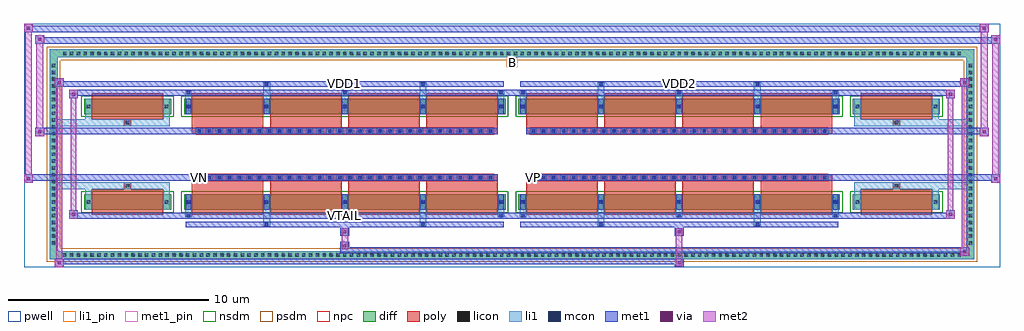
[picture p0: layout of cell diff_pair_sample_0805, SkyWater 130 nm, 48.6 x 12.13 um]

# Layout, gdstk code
import gdstk
lib = gdstk.Library(unit=1e-6, precision=5e-09)
def R(c, l, rs):  # rectangles x0, y0, x1, y1
    for r in rs: c.add(gdstk.rectangle(r[:2], r[2:], *l))
def A(c, l, x, y, w, h, nx, ny, dx, dy):  # array of equal rectangles
    R(c, l, [(x+i*dx, y+j*dy, x+i*dx+w, y+j*dy+h) for i in range(nx) for j in range(ny)])
def P(c, l, *ps):  # polygons
    for p in ps: c.add(gdstk.Polygon(p, *l))
pwell = (64, 44)
diff = (65, 20)
poly = (66, 20)
licon = (66, 44)
li1_pin = (67, 16)
li1 = (67, 20)
mcon = (67, 44)
met1_pin = (68, 16)
met1 = (68, 20)
via = (68, 44)
met2 = (69, 20)
nsdm = (93, 44)
psdm = (94, 20)
npc = (95, 20)

diff_pair_sample_0805 = lib.new_cell('diff_pair_sample_0805')
R(diff_pair_sample_0805, pwell, [(-24.3,-5.63,24.3,6.5), (-21.62,-3.82,-0.01,-0.8), (0.01,-3.82,21.62,-0.8), (-21.62,0.8,-0.01,3.82), (0.01,0.8,21.62,3.82)])
A(diff_pair_sample_0805, diff, -22.475, -5.23, 0.41, 0.41, 132, 2, 0.34, 10.05)
A(diff_pair_sample_0805, diff, -23.03, -4.625, 0.41, 0.41, 1, 27, 0, 0.34)
A(diff_pair_sample_0805, diff, 22.62, -4.625, 0.41, 0.41, 1, 27, 0, 0.34)
R(diff_pair_sample_0805, diff, [(-22.475,-5.23,22.475,-4.82), (-23.03,-4.625,-22.62,4.625), (22.62,-4.625,23.03,4.625), (-21.31,-2.775,-16.97,-1.985), (-16.33,-2.775,-0.32,-1.985), (0.32,-2.775,16.33,-1.985), (16.97,-2.775,21.31,-1.985), (-21.31,1.985,-16.97,2.775), (-16.33,1.985,-0.32,2.775), (0.32,1.985,16.33,2.775), (16.97,1.985,21.31,2.775), (-22.475,4.82,22.475,5.23)])
P(diff_pair_sample_0805, diff, [(23.03,5.23),(-23.03,5.23),(-23.03,-4.82),(-22.62,-4.82),(-22.62,4.82),(22.62,4.82),(22.62,-4.82),(-22.62,-4.82),(-23.03,-4.82),(-23.03,-5.23),(23.03,-5.23)])
A(diff_pair_sample_0805, poly, -15.94, -3.025, 3.56, 1.29, 4, 2, 3.89, 4.76)
A(diff_pair_sample_0805, poly, 0.71, -3.025, 3.56, 1.29, 4, 2, 3.89, 4.76)
A(diff_pair_sample_0805, poly, -15.94, -1.735, 3.56, 0.405, 4, 2, 3.89, 3.065)
A(diff_pair_sample_0805, poly, 0.71, -1.735, 3.56, 0.405, 4, 2, 3.89, 3.065)
A(diff_pair_sample_0805, poly, -15.74, -1.33, 0.33, 0.33, 30, 2, 0.5, 2.33)
A(diff_pair_sample_0805, poly, 0.91, -1.33, 0.33, 0.33, 30, 2, 0.5, 2.33)
R(diff_pair_sample_0805, poly, [(-20.92,-3.025,-17.36,-1.735), (17.36,-3.025,20.92,-1.735), (-19.305,-1.735,-18.975,-1.405), (-19.305,-1.735,-18.975,-1.405), (18.975,-1.735,19.305,-1.405), (18.975,-1.735,19.305,-1.405), (-15.94,-1.33,-0.71,-1), (0.71,-1.33,15.94,-1), (-15.94,1,-0.71,1.33), (0.71,1,15.94,1.33), (-19.305,1.405,-18.975,1.735), (-19.305,1.405,-18.975,1.735), (18.975,1.405,19.305,1.735), (18.975,1.405,19.305,1.735), (-20.92,1.735,-17.36,3.025), (17.36,1.735,20.92,3.025)])
A(diff_pair_sample_0805, licon, -22.355, -5.11, 0.17, 0.17, 132, 2, 0.34, 10.05)
A(diff_pair_sample_0805, licon, -22.91, -4.505, 0.17, 0.17, 1, 27, 0, 0.34)
A(diff_pair_sample_0805, licon, 22.74, -4.505, 0.17, 0.17, 1, 27, 0, 0.34)
A(diff_pair_sample_0805, licon, -16.19, -2.465, 0.17, 0.17, 5, 2, 3.89, 4.76)
A(diff_pair_sample_0805, licon, 0.46, -2.465, 0.17, 0.17, 5, 2, 3.89, 4.76)
A(diff_pair_sample_0805, licon, -15.66, -1.25, 0.17, 0.17, 30, 2, 0.5, 2.33)
A(diff_pair_sample_0805, licon, 0.99, -1.25, 0.17, 0.17, 30, 2, 0.5, 2.33)
R(diff_pair_sample_0805, licon, [(-21.17,-2.465,-21,-2.295), (-17.28,-2.465,-17.11,-2.295), (17.11,-2.465,17.28,-2.295), (21,-2.465,21.17,-2.295), (-19.225,-1.655,-19.055,-1.485), (19.055,-1.655,19.225,-1.485), (-19.225,1.485,-19.055,1.655), (19.055,1.485,19.225,1.655), (-21.17,2.295,-21,2.465), (-17.28,2.295,-17.11,2.465), (17.11,2.295,17.28,2.465), (21,2.295,21.17,2.465)])
R(diff_pair_sample_0805, li1_pin, [(-0.25,4.32,0.25,4.82)])
A(diff_pair_sample_0805, li1, -22.435, -5.19, 0.33, 0.33, 132, 2, 0.34, 10.05)
A(diff_pair_sample_0805, li1, -22.99, -4.585, 0.33, 0.33, 1, 27, 0, 0.34)
A(diff_pair_sample_0805, li1, 22.66, -4.585, 0.33, 0.33, 1, 27, 0, 0.34)
A(diff_pair_sample_0805, li1, -16.27, -3.15, 0.33, 0.375, 3, 2, 7.78, 5.925)
A(diff_pair_sample_0805, li1, -16.19, -3.15, 0.17, 0.17, 3, 2, 7.78, 6.13)
A(diff_pair_sample_0805, li1, 0.38, -3.15, 0.33, 0.375, 3, 2, 7.78, 5.925)
A(diff_pair_sample_0805, li1, 0.46, -3.15, 0.17, 0.17, 3, 2, 7.78, 6.13)
A(diff_pair_sample_0805, li1, -16.27, -2.775, 0.33, 0.79, 5, 2, 3.89, 4.76)
A(diff_pair_sample_0805, li1, 0.38, -2.775, 0.33, 0.79, 5, 2, 3.89, 4.76)
A(diff_pair_sample_0805, li1, -16.27, -2.545, 0.33, 0.33, 5, 2, 3.89, 4.76)
A(diff_pair_sample_0805, li1, 0.38, -2.545, 0.33, 0.33, 5, 2, 3.89, 4.76)
A(diff_pair_sample_0805, li1, -15.74, -1.33, 0.33, 0.33, 30, 2, 0.5, 2.33)
A(diff_pair_sample_0805, li1, 0.91, -1.33, 0.33, 0.33, 30, 2, 0.5, 2.33)
R(diff_pair_sample_0805, li1, [(-23.03,-5.23,-22.62,-4.82), (-23.03,-5.23,-22.62,-4.82), (-22.62,-5.23,22.62,-4.82), (22.62,-5.23,23.03,-4.82), (22.62,-5.23,23.03,-4.82), (-23.03,-4.82,-22.62,4.82), (22.62,-4.82,23.03,4.82), (-12.38,-3.58,-12.05,-2.775), (-12.3,-3.58,-12.13,-3.41), (-4.6,-3.58,-4.27,-2.775), (-4.52,-3.58,-4.35,-3.41), (4.27,-3.58,4.6,-2.775), (4.35,-3.58,4.52,-3.41), (12.05,-3.58,12.38,-2.775), (12.13,-3.58,12.3,-3.41), (-21.25,-2.775,-20.92,-1.985), (-17.36,-2.775,-17.03,-1.985), (17.03,-2.775,17.36,-1.985), (20.92,-2.775,21.25,-1.985), (-21.25,-2.545,-20.92,-2.215), (-17.36,-2.545,-17.03,-2.215), (17.03,-2.545,17.36,-2.215), (20.92,-2.545,21.25,-2.215), (-16.19,-2.465,-16.02,-2.295), (-16.19,-2.465,-16.02,-2.295), (-12.3,-2.465,-12.13,-2.295), (-12.3,-2.465,-12.13,-2.295), (-8.41,-2.465,-8.24,-2.295), (-8.41,-2.465,-8.24,-2.295), (-4.52,-2.465,-4.35,-2.295), (-4.52,-2.465,-4.35,-2.295), (-0.63,-2.465,-0.46,-2.295), (-0.63,-2.465,-0.46,-2.295), (0.46,-2.465,0.63,-2.295), (0.46,-2.465,0.63,-2.295), (4.35,-2.465,4.52,-2.295), (4.35,-2.465,4.52,-2.295), (8.24,-2.465,8.41,-2.295), (8.24,-2.465,8.41,-2.295), (12.13,-2.465,12.3,-2.295), (12.13,-2.465,12.3,-2.295), (16.02,-2.465,16.19,-2.295), (16.02,-2.465,16.19,-2.295), (-21.25,-1.985,-20.92,-1.405), (-17.36,-1.985,-17.03,-1.405), (17.03,-1.985,17.36,-1.405), (20.92,-1.985,21.25,-1.405), (-23.03,-1.735,-19.305,-1.405), (-21.25,-1.735,-19.305,-1.405), (-19.305,-1.735,-18.975,-1.405), (-18.975,-1.735,-17.03,-1.405), (17.03,-1.735,18.975,-1.405), (18.975,-1.735,19.305,-1.405), (18.975,-1.735,23.03,-1.405), (19.305,-1.735,21.25,-1.405), (-23.03,1.405,-19.305,1.735), (-21.25,1.405,-19.305,1.735), (-21.25,1.405,-20.92,1.985), (-19.305,1.405,-18.975,1.735), (-18.975,1.405,-17.03,1.735), (-17.36,1.405,-17.03,1.985), (17.03,1.405,18.975,1.735), (17.03,1.405,17.36,1.985), (18.975,1.405,19.305,1.735), (18.975,1.405,23.03,1.735), (19.305,1.405,21.25,1.735), (20.92,1.405,21.25,1.985), (-21.25,1.985,-20.92,2.775), (-17.36,1.985,-17.03,2.775), (17.03,1.985,17.36,2.775), (20.92,1.985,21.25,2.775), (-21.25,2.215,-20.92,2.545), (-17.36,2.215,-17.03,2.545), (17.03,2.215,17.36,2.545), (20.92,2.215,21.25,2.545), (-16.19,2.295,-16.02,2.465), (-16.19,2.295,-16.02,2.465), (-12.3,2.295,-12.13,2.465), (-12.3,2.295,-12.13,2.465), (-8.41,2.295,-8.24,2.465), (-8.41,2.295,-8.24,2.465), (-4.52,2.295,-4.35,2.465), (-4.52,2.295,-4.35,2.465), (-0.63,2.295,-0.46,2.465), (-0.63,2.295,-0.46,2.465), (0.46,2.295,0.63,2.465), (0.46,2.295,0.63,2.465), (4.35,2.295,4.52,2.465), (4.35,2.295,4.52,2.465), (8.24,2.295,8.41,2.465), (8.24,2.295,8.41,2.465), (12.13,2.295,12.3,2.465), (12.13,2.295,12.3,2.465), (16.02,2.295,16.19,2.465), (16.02,2.295,16.19,2.465), (-12.38,2.775,-12.05,3.58), (-4.6,2.775,-4.27,3.58), (4.27,2.775,4.6,3.58), (12.05,2.775,12.38,3.58), (-12.3,3.41,-12.13,3.58), (-4.52,3.41,-4.35,3.58), (4.35,3.41,4.52,3.58), (12.13,3.41,12.3,3.58), (-23.03,4.82,-22.62,5.23), (-23.03,4.82,-22.62,5.23), (-22.62,4.82,22.62,5.23), (22.62,4.82,23.03,5.23), (22.62,4.82,23.03,5.23)])
A(diff_pair_sample_0805, mcon, -16.19, -3.15, 0.17, 0.17, 3, 2, 7.78, 6.13)
A(diff_pair_sample_0805, mcon, 0.46, -3.15, 0.17, 0.17, 3, 2, 7.78, 6.13)
A(diff_pair_sample_0805, mcon, -16.19, -2.465, 0.17, 0.17, 5, 2, 3.89, 4.76)
A(diff_pair_sample_0805, mcon, 0.46, -2.465, 0.17, 0.17, 5, 2, 3.89, 4.76)
A(diff_pair_sample_0805, mcon, -15.66, -1.25, 0.17, 0.17, 30, 2, 0.5, 2.33)
A(diff_pair_sample_0805, mcon, 0.99, -1.25, 0.17, 0.17, 30, 2, 0.5, 2.33)
R(diff_pair_sample_0805, mcon, [(-12.3,-3.58,-12.13,-3.41), (-4.52,-3.58,-4.35,-3.41), (4.35,-3.58,4.52,-3.41), (12.13,-3.58,12.3,-3.41), (-12.3,3.41,-12.13,3.58), (-4.52,3.41,-4.35,3.58), (4.35,3.41,4.52,3.58), (12.13,3.41,12.3,3.58)])
R(diff_pair_sample_0805, met1_pin, [(-8.46,-3.19,-8.19,-2.92), (-15.71,-1.29,-15.44,-1.02), (0.94,-1.29,1.21,-1.02), (-8.46,3.37,-8.19,3.64), (8.19,3.37,8.46,3.64)])
A(diff_pair_sample_0805, met1, -16.25, -3.21, 0.29, 0.29, 3, 2, 7.78, 6.13)
A(diff_pair_sample_0805, met1, 0.4, -3.21, 0.29, 0.29, 3, 2, 7.78, 6.13)
A(diff_pair_sample_0805, met1, -16.25, -2.775, 0.29, 0.79, 5, 2, 3.89, 4.76)
A(diff_pair_sample_0805, met1, 0.4, -2.775, 0.29, 0.79, 5, 2, 3.89, 4.76)
A(diff_pair_sample_0805, met1, -16.25, -2.525, 0.29, 0.29, 5, 2, 3.89, 4.76)
A(diff_pair_sample_0805, met1, 0.4, -2.525, 0.29, 0.29, 5, 2, 3.89, 4.76)
A(diff_pair_sample_0805, met1, -15.72, -1.31, 0.29, 0.29, 30, 2, 0.5, 2.33)
A(diff_pair_sample_0805, met1, 0.93, -1.31, 0.29, 0.29, 30, 2, 0.5, 2.33)
R(diff_pair_sample_0805, met1, [(-22.76,-5.63,-22.33,-5.2), (8.11,-5.63,8.54,-5.2), (-22.76,-5.49,8.54,-5.2), (22.33,-5.06,22.76,-4.63), (-8.54,-4.92,22.76,-4.63), (-8.54,-4.78,-8.11,-4.35), (-8.54,-4.07,-8.11,-3.64), (8.11,-4.07,8.54,-3.64), (-16.25,-3.64,-0.4,-3.35), (-12.36,-3.64,-12.07,-3.35), (-4.58,-3.64,-4.29,-3.35), (0.4,-3.64,16.25,-3.35), (4.29,-3.64,4.58,-3.35), (12.07,-3.64,12.36,-3.35), (-22.05,-3.21,-21.62,-2.78), (-22.05,-3.21,-16.25,-2.92), (-16.25,-3.21,-0.4,-2.92), (-0.4,-3.21,0.4,-2.92), (0.4,-3.21,16.25,-2.92), (16.25,-3.21,22.05,-2.92), (21.62,-3.21,22.05,-2.78), (-24.3,-1.43,-23.87,-1), (23.87,-1.43,24.3,-1), (-24.3,-1.33,-0.71,-1), (-15.94,-1.33,-0.71,-1), (0.71,-1.33,15.94,-1), (0.71,-1.33,24.3,-1), (-23.73,0.9,-23.3,1.33), (23.3,0.9,23.73,1.33), (-23.73,1,-15.94,1.33), (-15.94,1,-0.71,1.33), (0.71,1,15.94,1.33), (15.94,1,23.73,1.33), (-22.05,2.78,-21.62,3.21), (21.62,2.78,22.05,3.21), (-22.05,2.92,-16.25,3.21), (-16.25,2.92,-0.4,3.21), (-0.4,2.92,0.4,3.21), (0.4,2.92,16.25,3.21), (16.25,2.92,22.05,3.21), (-22.76,3.35,-22.33,3.78), (-22.76,3.35,-16.25,3.64), (-16.25,3.35,-0.4,3.64), (-12.36,3.35,-12.07,3.64), (-4.58,3.35,-4.29,3.64), (0.4,3.35,16.25,3.64), (4.29,3.35,4.58,3.64), (12.07,3.35,12.36,3.64), (16.25,3.35,22.76,3.64), (22.33,3.35,22.76,3.78), (-23.73,5.5,-23.3,5.93), (-23.73,5.5,-21.62,5.83), (-21.62,5.5,21.62,5.83), (21.62,5.5,24.3,5.83), (23.87,5.5,24.3,5.93), (-24.3,6.07,-23.87,6.5), (-24.3,6.07,-21.62,6.4), (-21.62,6.07,21.62,6.4), (21.62,6.07,23.73,6.4), (23.3,6.07,23.73,6.5)])
R(diff_pair_sample_0805, via, [(-22.62,-5.49,-22.47,-5.34), (8.25,-5.49,8.4,-5.34), (22.47,-4.92,22.62,-4.77), (-8.4,-4.64,-8.25,-4.49), (-8.4,-3.93,-8.25,-3.78), (8.25,-3.93,8.4,-3.78), (-21.91,-3.07,-21.76,-2.92), (21.76,-3.07,21.91,-2.92), (-24.16,-1.29,-24.01,-1.14), (24.01,-1.29,24.16,-1.14), (-23.59,1.04,-23.44,1.19), (23.44,1.04,23.59,1.19), (-21.91,2.92,-21.76,3.07), (21.76,2.92,21.91,3.07), (-22.62,3.49,-22.47,3.64), (22.47,3.49,22.62,3.64), (-23.59,5.64,-23.44,5.79), (24.01,5.64,24.16,5.79), (-24.16,6.21,-24.01,6.36), (23.44,6.21,23.59,6.36)])
R(diff_pair_sample_0805, met2, [(-22.76,-5.63,-22.33,-5.2), (-22.69,-5.63,-22.4,3.78), (-22.4,-5.63,-22.33,-5.2), (-22.71,-5.58,-22.38,-5.25), (8.16,-5.58,8.49,-5.25), (8.16,-5.25,8.49,-4.02), (22.33,-5.06,22.76,-4.63), (22.4,-5.06,22.69,3.78), (22.69,-5.06,22.76,-4.63), (22.38,-5.01,22.71,-4.68), (-8.49,-4.73,-8.16,-4.4), (-8.49,-4.4,-8.16,-4.02), (-8.49,-4.02,-8.16,-3.69), (8.16,-4.02,8.49,-3.69), (-22.05,-3.21,-21.62,-2.78), (-21.98,-3.21,-21.69,3.21), (-21.69,-3.21,-21.62,-2.78), (21.62,-3.21,22.05,-2.78), (21.69,-3.21,21.98,3.21), (21.98,-3.21,22.05,-2.78), (-22,-3.16,-21.67,-2.83), (21.67,-3.16,22,-2.83), (-24.3,-1.43,-23.87,-1), (-24.25,-1.43,-23.92,6.5), (-23.92,-1.43,-23.87,-1), (23.87,-1.43,24.3,-1), (23.92,-1.43,24.25,5.93), (24.25,-1.43,24.3,-1), (-24.25,-1.38,-23.92,-1.05), (23.92,-1.38,24.25,-1.05), (-23.73,0.9,-23.3,1.33), (-23.68,0.9,-23.35,5.93), (-23.35,0.9,-23.3,1.33), (23.3,0.9,23.73,1.33), (23.35,0.9,23.68,6.5), (23.68,0.9,23.73,1.33), (-23.68,0.95,-23.35,1.28), (23.35,0.95,23.68,1.28), (-22.05,2.78,-21.62,3.21), (-21.69,2.78,-21.62,3.21), (21.62,2.78,22.05,3.21), (21.98,2.78,22.05,3.21), (-22,2.83,-21.67,3.16), (21.67,2.83,22,3.16), (-22.76,3.35,-22.33,3.78), (-22.4,3.35,-22.33,3.78), (22.33,3.35,22.76,3.78), (22.69,3.35,22.76,3.78), (-22.71,3.4,-22.38,3.73), (22.38,3.4,22.71,3.73), (-23.73,5.5,-23.3,5.93), (-23.35,5.5,-23.3,5.93), (23.87,5.5,24.3,5.93), (24.25,5.5,24.3,5.93), (-23.68,5.55,-23.35,5.88), (23.92,5.55,24.25,5.88), (-24.3,6.07,-23.87,6.5), (-23.92,6.07,-23.87,6.5), (23.3,6.07,23.73,6.5), (23.68,6.07,23.73,6.5), (-24.25,6.12,-23.92,6.45), (23.35,6.12,23.68,6.45)])
R(diff_pair_sample_0805, nsdm, [(-21.44,-2.905,-16.84,-1.855), (-16.46,-2.905,-0.19,-1.855), (0.19,-2.905,16.46,-1.855), (16.84,-2.905,21.44,-1.855), (-21.44,1.855,-16.84,2.905), (-16.46,1.855,-0.19,2.905), (0.19,1.855,16.46,2.905), (16.84,1.855,21.44,2.905)])
P(diff_pair_sample_0805, psdm, [(23.16,5.36),(-23.16,5.36),(-23.16,-4.69),(-22.49,-4.69),(-22.49,4.69),(22.49,4.69),(22.49,-4.69),(-22.49,-4.69),(-23.16,-4.69),(-23.16,-5.36),(23.16,-5.36)])
A(diff_pair_sample_0805, npc, -15.76, -1.35, 0.37, 0.37, 30, 2, 0.5, 2.33)
A(diff_pair_sample_0805, npc, 0.89, -1.35, 0.37, 0.37, 30, 2, 0.5, 2.33)
R(diff_pair_sample_0805, npc, [(-19.325,-1.755,-18.955,-1.385), (18.955,-1.755,19.325,-1.385), (-15.76,-1.35,-14.89,-0.98), (-15.76,-1.35,-14.89,-0.98), (-15.26,-1.35,-14.39,-0.98), (-15.26,-1.35,-14.39,-0.98), (-14.76,-1.35,-13.89,-0.98), (-14.76,-1.35,-13.89,-0.98), (-14.26,-1.35,-13.39,-0.98), (-14.26,-1.35,-13.39,-0.98), (-13.76,-1.35,-12.89,-0.98), (-13.76,-1.35,-12.89,-0.98), (-13.26,-1.35,-12.39,-0.98), (-13.26,-1.35,-12.39,-0.98), (-12.76,-1.35,-11.89,-0.98), (-12.76,-1.35,-11.89,-0.98), (-12.26,-1.35,-11.39,-0.98), (-12.26,-1.35,-11.39,-0.98), (-11.76,-1.35,-10.89,-0.98), (-11.76,-1.35,-10.89,-0.98), (-11.26,-1.35,-10.39,-0.98), (-11.26,-1.35,-10.39,-0.98), (-10.76,-1.35,-9.89,-0.98), (-10.76,-1.35,-9.89,-0.98), (-10.26,-1.35,-9.39,-0.98), (-10.26,-1.35,-9.39,-0.98), (-9.76,-1.35,-8.89,-0.98), (-9.76,-1.35,-8.89,-0.98), (-9.26,-1.35,-8.39,-0.98), (-9.26,-1.35,-8.39,-0.98), (-8.76,-1.35,-7.89,-0.98), (-8.76,-1.35,-7.89,-0.98), (-8.26,-1.35,-7.39,-0.98), (-8.26,-1.35,-7.39,-0.98), (-7.76,-1.35,-6.89,-0.98), (-7.76,-1.35,-6.89,-0.98), (-7.26,-1.35,-6.39,-0.98), (-7.26,-1.35,-6.39,-0.98), (-6.76,-1.35,-5.89,-0.98), (-6.76,-1.35,-5.89,-0.98), (-6.26,-1.35,-5.39,-0.98), (-6.26,-1.35,-5.39,-0.98), (-5.76,-1.35,-4.89,-0.98), (-5.76,-1.35,-4.89,-0.98), (-5.26,-1.35,-4.39,-0.98), (-5.26,-1.35,-4.39,-0.98), (-4.76,-1.35,-3.89,-0.98), (-4.76,-1.35,-3.89,-0.98), (-4.26,-1.35,-3.39,-0.98), (-4.26,-1.35,-3.39,-0.98), (-3.76,-1.35,-2.89,-0.98), (-3.76,-1.35,-2.89,-0.98), (-3.26,-1.35,-2.39,-0.98), (-3.26,-1.35,-2.39,-0.98), (-2.76,-1.35,-1.89,-0.98), (-2.76,-1.35,-1.89,-0.98), (-2.26,-1.35,-1.39,-0.98), (-2.26,-1.35,-1.39,-0.98), (-1.76,-1.35,-0.89,-0.98), (-1.76,-1.35,-0.89,-0.98), (0.89,-1.35,1.76,-0.98), (0.89,-1.35,1.76,-0.98), (1.39,-1.35,2.26,-0.98), (1.39,-1.35,2.26,-0.98), (1.89,-1.35,2.76,-0.98), (1.89,-1.35,2.76,-0.98), (2.39,-1.35,3.26,-0.98), (2.39,-1.35,3.26,-0.98), (2.89,-1.35,3.76,-0.98), (2.89,-1.35,3.76,-0.98), (3.39,-1.35,4.26,-0.98), (3.39,-1.35,4.26,-0.98), (3.89,-1.35,4.76,-0.98), (3.89,-1.35,4.76,-0.98), (4.39,-1.35,5.26,-0.98), (4.39,-1.35,5.26,-0.98), (4.89,-1.35,5.76,-0.98), (4.89,-1.35,5.76,-0.98), (5.39,-1.35,6.26,-0.98), (5.39,-1.35,6.26,-0.98), (5.89,-1.35,6.76,-0.98), (5.89,-1.35,6.76,-0.98), (6.39,-1.35,7.26,-0.98), (6.39,-1.35,7.26,-0.98), (6.89,-1.35,7.76,-0.98), (6.89,-1.35,7.76,-0.98), (7.39,-1.35,8.26,-0.98), (7.39,-1.35,8.26,-0.98), (7.89,-1.35,8.76,-0.98), (7.89,-1.35,8.76,-0.98), (8.39,-1.35,9.26,-0.98), (8.39,-1.35,9.26,-0.98), (8.89,-1.35,9.76,-0.98), (8.89,-1.35,9.76,-0.98), (9.39,-1.35,10.26,-0.98), (9.39,-1.35,10.26,-0.98), (9.89,-1.35,10.76,-0.98), (9.89,-1.35,10.76,-0.98), (10.39,-1.35,11.26,-0.98), (10.39,-1.35,11.26,-0.98), (10.89,-1.35,11.76,-0.98), (10.89,-1.35,11.76,-0.98), (11.39,-1.35,12.26,-0.98), (11.39,-1.35,12.26,-0.98), (11.89,-1.35,12.76,-0.98), (11.89,-1.35,12.76,-0.98), (12.39,-1.35,13.26,-0.98), (12.39,-1.35,13.26,-0.98), (12.89,-1.35,13.76,-0.98), (12.89,-1.35,13.76,-0.98), (13.39,-1.35,14.26,-0.98), (13.39,-1.35,14.26,-0.98), (13.89,-1.35,14.76,-0.98), (13.89,-1.35,14.76,-0.98), (14.39,-1.35,15.26,-0.98), (14.39,-1.35,15.26,-0.98), (14.89,-1.35,15.76,-0.98), (14.89,-1.35,15.76,-0.98), (-15.76,0.98,-14.89,1.35), (-15.76,0.98,-14.89,1.35), (-15.26,0.98,-14.39,1.35), (-15.26,0.98,-14.39,1.35), (-14.76,0.98,-13.89,1.35), (-14.76,0.98,-13.89,1.35), (-14.26,0.98,-13.39,1.35), (-14.26,0.98,-13.39,1.35), (-13.76,0.98,-12.89,1.35), (-13.76,0.98,-12.89,1.35), (-13.26,0.98,-12.39,1.35), (-13.26,0.98,-12.39,1.35), (-12.76,0.98,-11.89,1.35), (-12.76,0.98,-11.89,1.35), (-12.26,0.98,-11.39,1.35), (-12.26,0.98,-11.39,1.35), (-11.76,0.98,-10.89,1.35), (-11.76,0.98,-10.89,1.35), (-11.26,0.98,-10.39,1.35), (-11.26,0.98,-10.39,1.35), (-10.76,0.98,-9.89,1.35), (-10.76,0.98,-9.89,1.35), (-10.26,0.98,-9.39,1.35), (-10.26,0.98,-9.39,1.35), (-9.76,0.98,-8.89,1.35), (-9.76,0.98,-8.89,1.35), (-9.26,0.98,-8.39,1.35), (-9.26,0.98,-8.39,1.35), (-8.76,0.98,-7.89,1.35), (-8.76,0.98,-7.89,1.35), (-8.26,0.98,-7.39,1.35), (-8.26,0.98,-7.39,1.35), (-7.76,0.98,-6.89,1.35), (-7.76,0.98,-6.89,1.35), (-7.26,0.98,-6.39,1.35), (-7.26,0.98,-6.39,1.35), (-6.76,0.98,-5.89,1.35), (-6.76,0.98,-5.89,1.35), (-6.26,0.98,-5.39,1.35), (-6.26,0.98,-5.39,1.35), (-5.76,0.98,-4.89,1.35), (-5.76,0.98,-4.89,1.35), (-5.26,0.98,-4.39,1.35), (-5.26,0.98,-4.39,1.35), (-4.76,0.98,-3.89,1.35), (-4.76,0.98,-3.89,1.35), (-4.26,0.98,-3.39,1.35), (-4.26,0.98,-3.39,1.35), (-3.76,0.98,-2.89,1.35), (-3.76,0.98,-2.89,1.35), (-3.26,0.98,-2.39,1.35), (-3.26,0.98,-2.39,1.35), (-2.76,0.98,-1.89,1.35), (-2.76,0.98,-1.89,1.35), (-2.26,0.98,-1.39,1.35), (-2.26,0.98,-1.39,1.35), (-1.76,0.98,-0.89,1.35), (-1.76,0.98,-0.89,1.35), (0.89,0.98,1.76,1.35), (0.89,0.98,1.76,1.35), (1.39,0.98,2.26,1.35), (1.39,0.98,2.26,1.35), (1.89,0.98,2.76,1.35), (1.89,0.98,2.76,1.35), (2.39,0.98,3.26,1.35), (2.39,0.98,3.26,1.35), (2.89,0.98,3.76,1.35), (2.89,0.98,3.76,1.35), (3.39,0.98,4.26,1.35), (3.39,0.98,4.26,1.35), (3.89,0.98,4.76,1.35), (3.89,0.98,4.76,1.35), (4.39,0.98,5.26,1.35), (4.39,0.98,5.26,1.35), (4.89,0.98,5.76,1.35), (4.89,0.98,5.76,1.35), (5.39,0.98,6.26,1.35), (5.39,0.98,6.26,1.35), (5.89,0.98,6.76,1.35), (5.89,0.98,6.76,1.35), (6.39,0.98,7.26,1.35), (6.39,0.98,7.26,1.35), (6.89,0.98,7.76,1.35), (6.89,0.98,7.76,1.35), (7.39,0.98,8.26,1.35), (7.39,0.98,8.26,1.35), (7.89,0.98,8.76,1.35), (7.89,0.98,8.76,1.35), (8.39,0.98,9.26,1.35), (8.39,0.98,9.26,1.35), (8.89,0.98,9.76,1.35), (8.89,0.98,9.76,1.35), (9.39,0.98,10.26,1.35), (9.39,0.98,10.26,1.35), (9.89,0.98,10.76,1.35), (9.89,0.98,10.76,1.35), (10.39,0.98,11.26,1.35), (10.39,0.98,11.26,1.35), (10.89,0.98,11.76,1.35), (10.89,0.98,11.76,1.35), (11.39,0.98,12.26,1.35), (11.39,0.98,12.26,1.35), (11.89,0.98,12.76,1.35), (11.89,0.98,12.76,1.35), (12.39,0.98,13.26,1.35), (12.39,0.98,13.26,1.35), (12.89,0.98,13.76,1.35), (12.89,0.98,13.76,1.35), (13.39,0.98,14.26,1.35), (13.39,0.98,14.26,1.35), (13.89,0.98,14.76,1.35), (13.89,0.98,14.76,1.35), (14.39,0.98,15.26,1.35), (14.39,0.98,15.26,1.35), (14.89,0.98,15.76,1.35), (14.89,0.98,15.76,1.35), (-19.325,1.385,-18.955,1.755), (18.955,1.385,19.325,1.755)])
diff_pair_sample_0805.add(gdstk.Label('VTAIL', (-8.325,-3.055), layer=68, texttype=5))
diff_pair_sample_0805.add(gdstk.Label('VN', (-15.575,-1.155), layer=68, texttype=5))
diff_pair_sample_0805.add(gdstk.Label('VP', (1.075,-1.155), layer=68, texttype=5))
diff_pair_sample_0805.add(gdstk.Label('B', (0,4.57), layer=67, texttype=5))
diff_pair_sample_0805.add(gdstk.Label('VDD2', (8.325,3.505), layer=68, texttype=5))
diff_pair_sample_0805.add(gdstk.Label('VDD1', (-8.325,3.505), layer=68, texttype=5))

lib.write_gds('diff_pair_sample_0805.gds')
